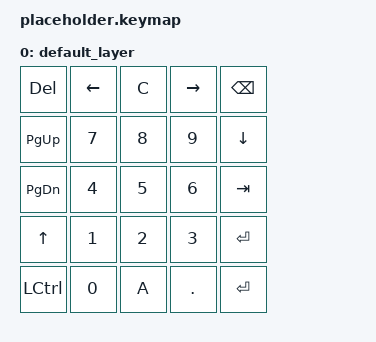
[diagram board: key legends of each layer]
/*
* Copyright (c) 2020 The ZMK Contributors
*
* SPDX-License-Identifier: MIT
*/

#include <behaviors.dtsi>
#include <dt-bindings/zmk/keys.h>

/ {
	keymap {
		compatible = "zmk,keymap";

		default_layer {
			bindings = <
				&kp DEL   &kp LEFT  &kp C     &kp RIGHT &kp BSPC
				&kp PG_UP &kp N7    &kp N8    &kp N9    &kp DOWN
				&kp PG_DN &kp N4    &kp N5    &kp N6    &kp TAB
				&kp UP    &kp N1    &kp N2    &kp N3    &kp ENTER
				&kp LCTRL &kp N0    &kp A     &kp DOT   &kp ENTER
			>;
		};
	};
};
